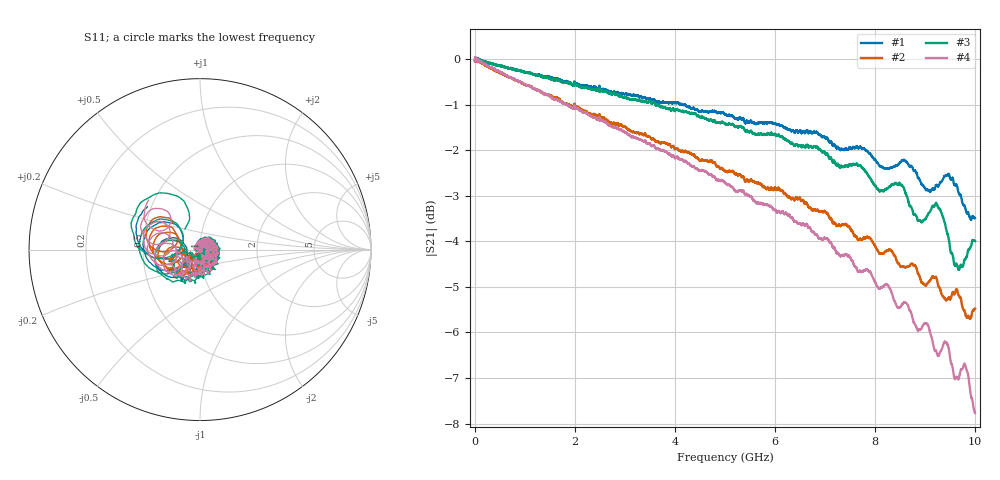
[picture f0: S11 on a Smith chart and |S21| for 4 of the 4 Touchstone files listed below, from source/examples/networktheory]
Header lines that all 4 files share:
! CHANNEL.1
! TR.MEASUREMENT
! CORRECTED.DATA
# GHZ S RI R 50.0
! FREQ.GHZ  S11RE  S11IM  S31RE  S31IM  S13RE  S13IM  S33RE  S33IM
!; PortSelection: Port_13
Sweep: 1 MHz to 10 GHz
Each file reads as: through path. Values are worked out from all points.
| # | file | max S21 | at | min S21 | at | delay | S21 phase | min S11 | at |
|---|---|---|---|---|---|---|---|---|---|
| 1 | CPWG100.s2p | 0.04 dB | 10 MHz | -3.5 dB | 9.924 GHz | 636 ps | -58 deg at 5.001 GHz | -54.1 dB | 3 MHz |
| 2 | CPWG200.s2p | 0.03 dB | 10 MHz | -5.7 dB | 9.905 GHz | 1.2 ns | 16 deg at 5.001 GHz | -59.6 dB | 363 MHz |
| 3 | MSL100.s2p | 0.03 dB | 10 MHz | -4.6 dB | 9.678 GHz | 709 ps | -167 deg at 5.001 GHz | -60.3 dB | 19 MHz |
| 4 | MSL200.s2p | 0.04 dB | 10 MHz | -7.8 dB | 10 GHz | 1.33 ns | 168 deg at 5.001 GHz | -75.2 dB | 441 MHz |
